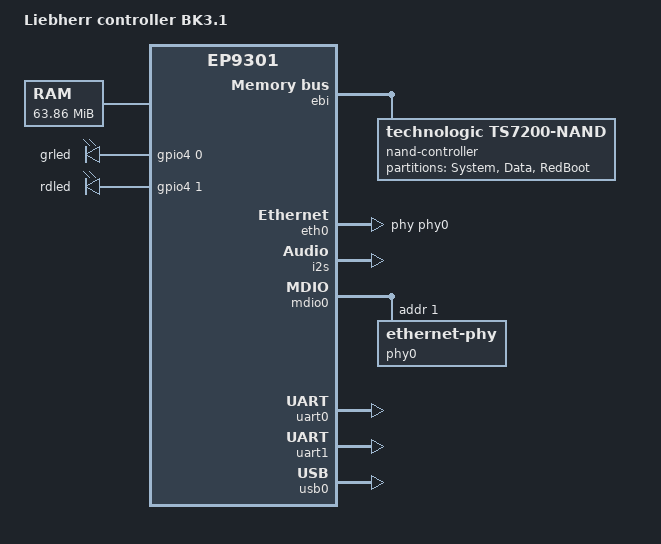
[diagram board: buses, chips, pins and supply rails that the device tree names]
// SPDX-License-Identifier: GPL-2.0
/*
 * Device Tree file for Liebherr controller BK3.1 based on Cirrus EP9302 SoC
 */
/dts-v1/;
#include "ep93xx.dtsi"

/ {
	model = "Liebherr controller BK3.1";
	compatible = "liebherr,bk3", "cirrus,ep9301";
	#address-cells = <1>;
	#size-cells = <1>;

	chosen {
	};

	memory@0 {
		device_type = "memory";
		/* should be set from ATAGS */
		reg = <0x00000000 0x02000000>,
		      <0x000530c0 0x01fdd000>;
	};

	leds {
		compatible = "gpio-leds";
		led-0 {
			label = "grled";
			gpios = <&gpio4 0 GPIO_ACTIVE_HIGH>;
			linux,default-trigger = "heartbeat";
			function = LED_FUNCTION_HEARTBEAT;
		};

		led-1 {
			label = "rdled";
			gpios = <&gpio4 1 GPIO_ACTIVE_HIGH>;
			function = LED_FUNCTION_FAULT;
		};
	};
};

&ebi {
	nand-controller@60000000 {
		compatible = "technologic,ts7200-nand";
		reg = <0x60000000 0x8000000>;
		#address-cells = <1>;
		#size-cells = <0>;

		nand@0 {
			reg = <0>;
			partitions {
				compatible = "fixed-partitions";
				#address-cells = <1>;
				#size-cells = <1>;

				partition@0 {
					label = "System";
					reg = <0x00000000 0x01e00000>;
					read-only;
				};

				partition@1e00000 {
					label = "Data";
					reg = <0x01e00000 0x05f20000>;
				};

				partition@7d20000 {
					label = "RedBoot";
					reg = <0x07d20000 0x002e0000>;
					read-only;
				};
			};
		};
	};
};

&eth0 {
	phy-handle = <&phy0>;
};

&i2s {
	dmas = <&dma0 0 1>, <&dma0 0 2>;
	dma-names = "tx", "rx";
	pinctrl-names = "default";
	pinctrl-0 = <&i2s_on_ac97_pins>;
	status = "okay";
};

&gpio1 {
	/* PWM */
	gpio-ranges = <&syscon 6 163 1>;
};

&gpio4 {
	gpio-ranges = <&syscon 0 97 2>;
	status = "okay";
};

&gpio6 {
	gpio-ranges = <&syscon 0 87 2>;
	status = "okay";
};

&gpio7 {
	gpio-ranges = <&syscon 2 199 4>;
	status = "okay";
};

&mdio0 {
	phy0: ethernet-phy@1 {
		reg = <1>;
		device_type = "ethernet-phy";
	};
};

&uart0 {
	status = "okay";
};

&uart1 {
	status = "okay";
};

&usb0 {
	status = "okay";
};
